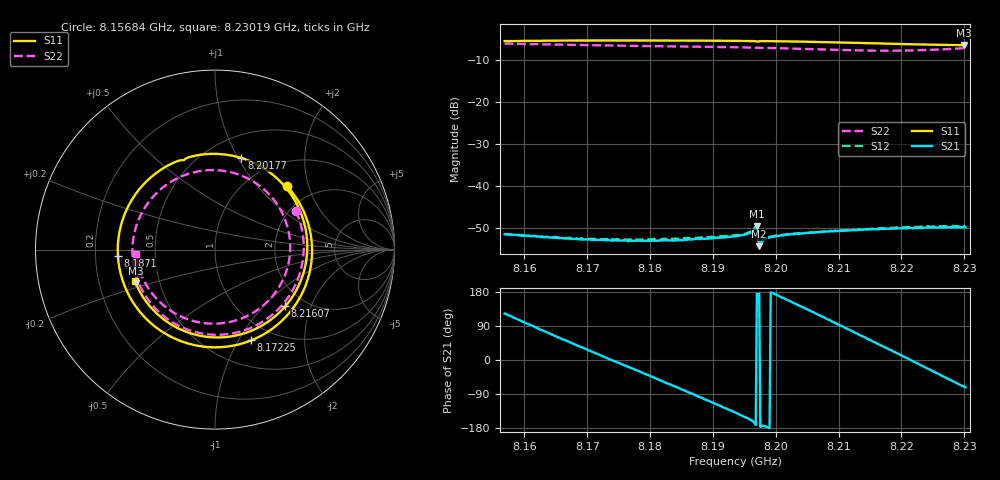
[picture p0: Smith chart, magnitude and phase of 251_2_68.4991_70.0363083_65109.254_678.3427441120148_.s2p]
#  HZ  S  RI  R  50.00
! Rohde & Schwarz Vector Network Analyzer
! Rohde-Schwarz,ZNB20-2Port,1311601062101988,3.16
! Created: UTC 3/20/2024, 4:59:51 PM
! freq[Hz]  re:S11  im:S11  re:S21  im:S21  re:S12  im:S12  re:S22  im:S22
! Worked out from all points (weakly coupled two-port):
!   401 points, 8.15684 GHz to 8.23019 GHz, reference 50 ohm
!   highest |S21| = -49.43 dB at 8.197 GHz (marker M1); lowest = -54.3 dB at 8.19737 GHz (marker M2)
!   lowest |S11| = -6.4 dB at 8.23 GHz (marker M3), VSWR 2.84, Z = 18.2 - j8.83 ohm
!   |S11| at or under -10 dB: nowhere
!   |S22| runs from -7.7 to -6.0 dB; largest |S21 - S12| = 0.00025
!   S11 on the Smith chart (normalised r, x): 8.15684 GHz: 1.46, +1.46; 8.17225 GHz: 0.79, -1.13; 8.1871 GHz: 0.30, -0.03; 8.20177 GHz: 0.73, +1.03; 8.21607 GHz: 1.59, -1.34; 8.23019 GHz: 0.36, -0.16
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8.156843e9  0.3994 0.3558  -0.00143 0.00226  -0.00141 0.0023  0.4516 0.2136
8.163078e9  0.5405 -0.0271  0.000584 0.00239  0.00057 0.00242  0.4647 -0.1557
8.169128e9  0.3783 -0.3909  0.00196 0.00129  0.002 0.00133  0.2357 -0.4191
8.172246e9  0.2021 -0.5055  0.00225 0.000446  0.0023 0.000457  0.0646 -0.4717
8.17683e9  -0.1059 -0.5341  0.0021 -0.000788  0.00218 -0.000825  -0.1902 -0.4301
8.181414e9  -0.3813 -0.3875  0.0014 -0.00178  0.00139 -0.00184  -0.3832 -0.2637
8.187098e9  -0.5409 -0.0352  -7.85e-05 -0.00236  -0.000144 -0.00242  -0.4581 0.0376
8.190215e9  -0.5101 0.1793  -0.000997 -0.00221  -0.00105 -0.00225  -0.4087 0.2026
8.193516e9  -0.3879 0.374  -0.00189 -0.00168  -0.00201 -0.00168  -0.2931 0.3441
8.196633e9  -0.2038 0.4946  -0.00302 -0.000745  -0.00312 -0.000606  -0.1393 0.425
8.196999e9  -0.1777 0.498  -0.00336 0.000294  -0.00343 0.000445  -0.1194 0.4302
8.197366e9  -0.1622 0.5075  -0.00193 0.000157  -0.00198 0.000221  -0.0993 0.4347
8.197733e9  -0.1363 0.5172  -0.00211 -0.000237  -0.00218 -0.000193  -0.0789 0.4383
8.201767e9  0.1468 0.5101  -0.00249 0.000959  -0.00248 0.00107  0.1467 0.4125
8.205801e9  0.3842 0.3575  -0.00169 0.00226  -0.00164 0.00231  0.3312 0.2731
8.210935e9  0.5143 0.0234  0.000225 0.00296  0.000312 0.00294  0.4182 -0.0148
8.216069e9  0.391 -0.3161  0.00223 0.00216  0.00233 0.00211  0.284 -0.298
8.218086e9  0.2811 -0.4112  0.00276 0.00146  0.00288 0.00139  0.1769 -0.3711
8.22102e9  0.0833 -0.4845  0.00316 0.000204  0.00325 0.000101  -0.0102 -0.413
8.22377e9  -0.1144 -0.4728  0.00303 -0.00106  0.00305 -0.00119  -0.19 -0.3725
8.230005e9  -0.4417 -0.1866  0.00106 -0.00306  0.000918 -0.00322  -0.4384 -0.04
8.230188e9  -0.4468 -0.1742  0.000987 -0.00309  0.000805 -0.00327  -0.4402 -0.0273
